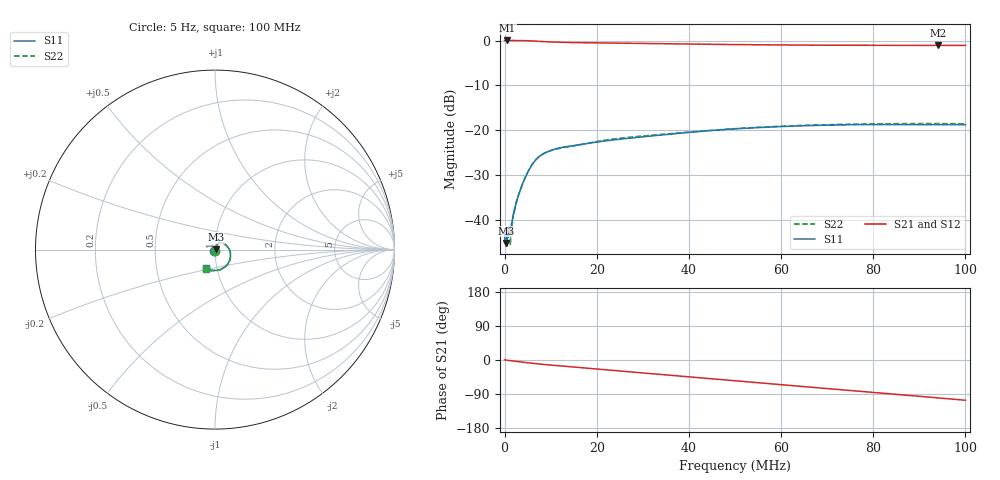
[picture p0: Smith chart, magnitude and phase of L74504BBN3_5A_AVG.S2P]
!Agilent Technologies,E5061B,MY49102235,A.02.00
!Date: Tue Jul 11 15:28:02 2023
!Data & Calibration Information:
!Freq	S11:SOLT2(ON)	S21:SOLT2(ON)	S12:SOLT2(ON)	S22:SOLT2(ON)
# Hz S RI R 50
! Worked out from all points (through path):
!   1600 points, 5 Hz to 100 MHz, reference 50 ohm
!   highest |S21| = 0.02 dB at 625.4 kHz (marker M1); lowest = -1.1 dB at 94 MHz (marker M2)
!   group delay of S21, straight-line fit = 2.88 ns
!   lowest |S11| = -45.1 dB at 250.2 kHz (marker M3), VSWR 1.01, Z = 50.5 + j0.157 ohm
!   |S11| at or under -10 dB: start of sweep to end of sweep
!   |S22| runs from -45.8 to -18.5 dB; largest |S21 - S12| = 0.0026
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5  -0.00518 -0.00565  1.002 0.00799  1 0.0102  -0.00147 -0.00753
250161.3  0.00532 0.00155  1.001 -0.00488  1.001 -0.00494  0.0073 -0.0003
625395.8  0.00526 0.00367  1.002 -0.0148  1.002 -0.0143  0.00627 0.00328
938091.3  0.00467 0.00602  1.001 -0.0216  1.001 -0.0212  0.00623 0.00544
1313326  0.00503 0.00679  1.001 -0.0305  1.001 -0.0307  0.00322 0.00524
1688560  0.00463 0.0089  0.9998 -0.0409  1.001 -0.041  0.00436 0.00806
2063795  0.00426 0.0119  1 -0.0503  0.9996 -0.0508  0.00467 0.0117
2376490  0.00477 0.0136  0.9983 -0.0579  0.9988 -0.0583  0.00543 0.0139
2939342  0.00652 0.0172  0.9974 -0.0722  0.997 -0.0724  0.00548 0.0176
3439655  0.00764 0.0206  0.9955 -0.0849  0.9957 -0.085  0.00651 0.021
4878054  0.0133 0.0302  0.9881 -0.1219  0.9878 -0.1218  0.0128 0.0306
6504070  0.0249 0.0376  0.9728 -0.1606  0.9729 -0.1604  0.0245 0.038
8005008  0.0366 0.0385  0.9569 -0.1898  0.9568 -0.1897  0.0363 0.0392
1.013134e7  0.049 0.0345  0.937 -0.2257  0.9368 -0.2253  0.0483 0.0345
1.669794e7  0.0673 0.018  0.8864 -0.3277  0.8863 -0.3275  0.0671 0.0179
2.345216e7  0.0778 0.00346  0.8302 -0.4304  0.83 -0.43  0.0798 0.00216
3.333334e7  0.0853 -0.0215  0.7278 -0.5654  0.7277 -0.5651  0.0865 -0.0228
5.003127e7  0.0783 -0.0681  0.5152 -0.7402  0.5151 -0.74  0.0781 -0.0694
6.672921e7  0.0412 -0.1052  0.273 -0.8456  0.2733 -0.8456  0.0419 -0.1064
8.33646e7  -0.00563 -0.1157  0.016 -0.8837  0.0159 -0.8837  -0.0057 -0.1182
9.399625e7  -0.0346 -0.1102  -0.1523 -0.8699  -0.1524 -0.87  -0.0349 -0.1136
1e8  -0.049 -0.1047  -0.2464 -0.8484  -0.2463 -0.8484  -0.0496 -0.1077
